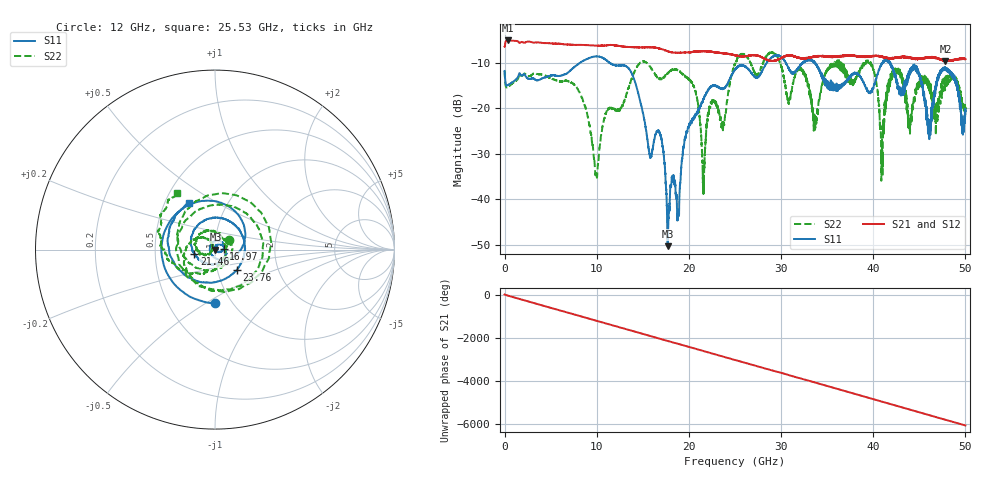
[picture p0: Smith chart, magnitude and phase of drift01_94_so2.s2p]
!Created with skrf (http://scikit-rf.org).
# Hz S RI R 50.0
!freq ReS11 ImS11 ReS21 ImS21 ReS12 ImS12 ReS22 ImS22
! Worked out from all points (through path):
!   10001 points, 300 kHz to 50 GHz, reference 50 ohm
!   highest |S21| = -5.05 dB at 325.3 MHz (marker M1); lowest = -9.6 dB at 47.84 GHz (marker M2)
!   group delay of S21, straight-line fit = 336 ps
!   lowest |S11| = -50.3 dB at 17.69 GHz (marker M3), VSWR 1.01, Z = 50.3 - j0.128 ohm
!   |S11| at or under -10 dB: start of sweep to 8.165 GHz; 11.43 GHz to 28.43 GHz (17 GHz wide, 85.3 % of centre); 41.8 GHz to end of sweep (the widest 3 of 9)
!   |S22| runs from -38.8 to -7.7 dB; largest |S21 - S12| = 0.015
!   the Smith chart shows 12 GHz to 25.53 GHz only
!   S11 on the Smith chart (normalised r, x): 12 GHz: 0.84, -0.55; 16.97 GHz: 1.10, +0.01; 21.46 GHz: 0.79, -0.04; 23.76 GHz: 1.24, -0.29; 25.53 GHz: 0.66, +0.38
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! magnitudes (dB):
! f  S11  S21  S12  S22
! 300 kHz  -11.8  -6.4  -6.5  -11.8
! 325.3 MHz  -15.0  -5.1  -5.1  -15.4
! 8.335 GHz  -9.8  -6.0  -6.0  -17.5
! 9.935 GHz  -8.6  -6.2  -6.2  -34.5
! 12 GHz  -10.5  -6.1  -6.1  -20.4
! 16.67 GHz  -24.9  -6.8  -6.7  -13.3
! 16.97 GHz  -26.3  -6.9  -6.9  -13.4
! 17.69 GHz  -50.3  -7.4  -7.4  -12.3
! 20.5 GHz  -22.2  -7.5  -7.5  -15.0
! 21.46 GHz  -18.6  -7.4  -7.4  -31.9
! 22.46 GHz  -15.1  -7.5  -7.6  -19.0
! 23.76 GHz  -15.6  -7.9  -7.9  -23.1
! 25 GHz  -11.4  -8.3  -8.4  -10.3
! 25.53 GHz  -10.5  -8.5  -8.5  -8.5
! 33.34 GHz  -9.4  -8.7  -8.7  -19.4
! 39.51 GHz  -16.5  -8.6  -8.6  -10.0
! 40.95 GHz  -10.1  -8.6  -8.6  -28.2
! 41.67 GHz  -9.7  -8.9  -9.0  -15.0
! 44.72 GHz  -11.4  -9.1  -9.1  -15.3
! 46.1 GHz  -25.1  -8.8  -8.8  -14.7
! 47.84 GHz  -11.2  -9.6  -9.6  -13.9
! 50 GHz  -21.2  -9.2  -9.1  -19.9
